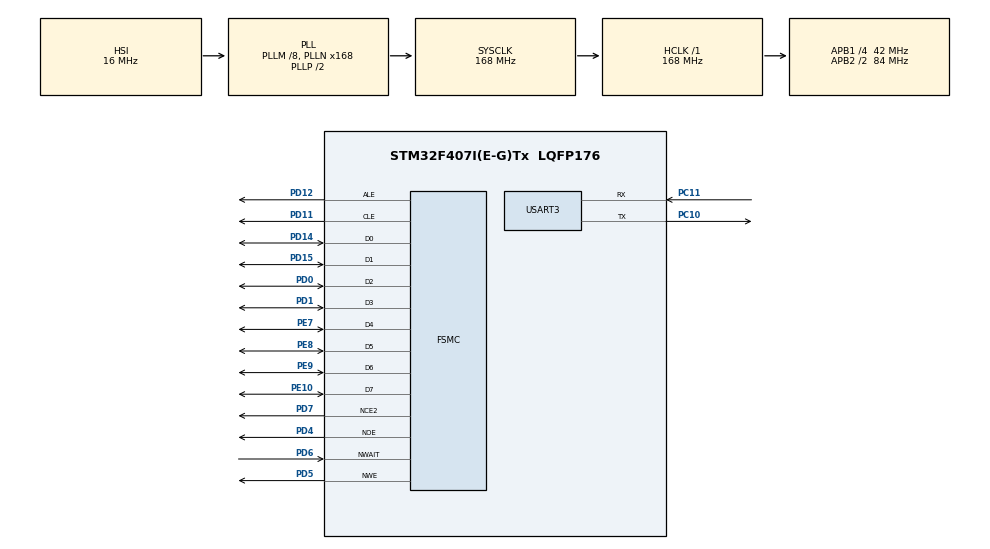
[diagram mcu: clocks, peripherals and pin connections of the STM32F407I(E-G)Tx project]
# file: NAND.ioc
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FSMC.AttributeSpaceHiZSetupTime1=1
FSMC.AttributeSpaceHoldSetupTime1=3
FSMC.AttributeSpaceSetupTime1=0
FSMC.AttributeSpaceWaitSetupTime1=2
FSMC.CommonSpaceHiZSetupTime1=1
FSMC.CommonSpaceHoldSetupTime1=3
FSMC.CommonSpaceSetupTime1=0
FSMC.CommonSpaceWaitSetupTime1=2
FSMC.ECCPageSize1=FSMC_NAND_ECC_PAGE_SIZE_2048BYTE
FSMC.EccComputation1=FSMC_NAND_ECC_ENABLE
FSMC.NandBlockNbr1=0x0400
FSMC.NandBlockSize1=0x0040
FSMC.NandPageSize1=0x0800
FSMC.NandSpareAreaSize1=0x0040
FSMC.NandZoneSize1=0x0400
Mcu.Family=STM32F4
Mcu.Name=STM32F407I(E-G)Tx
Mcu.Package=LQFP176
NVIC.PriorityGroup=NVIC_PRIORITYGROUP_4
PC10.Mode=Asynchronous
PC10.Signal=USART3_TX
PC11.Mode=Asynchronous
PC11.Signal=USART3_RX
PD0.Signal=FSMC_D2_DA2
PD1.Signal=FSMC_D3_DA3
PD11.Signal=FSMC_A16_CLE
PD12.Signal=FSMC_A17_ALE
PD14.Signal=FSMC_D0_DA0
PD15.Signal=FSMC_D1_DA1
PD4.Signal=FSMC_NOE
PD5.Signal=FSMC_NWE
PD6.Signal=FSMC_NWAIT
PD7.Mode=NandChipSelect2_1
PD7.Signal=FSMC_NCE2
PE10.Signal=FSMC_D7_DA7
PE7.Signal=FSMC_D4_DA4
PE8.Signal=FSMC_D5_DA5
PE9.Signal=FSMC_D6_DA6
PH0-OSC_IN.Mode=HSE-External-Oscillator
PH0-OSC_IN.Signal=RCC_OSC_IN
PH1-OSC_OUT.Mode=HSE-External-Oscillator
PH1-OSC_OUT.Signal=RCC_OSC_OUT
ProjectManager.HeapSize=0x200
ProjectManager.StackSize=0x400
ProjectManager.TargetToolchain=MDK-ARM V5
RCC.48MHZClocksFreq_Value=84000000
RCC.AHBFreq_Value=168000000
RCC.APB1CLKDivider=RCC_HCLK_DIV4
RCC.APB1Freq_Value=42000000
RCC.APB1TimFreq_Value=84000000
RCC.APB2CLKDivider=RCC_HCLK_DIV2
RCC.APB2Freq_Value=84000000
RCC.APB2TimFreq_Value=168000000
RCC.CortexFreq_Value=168000000
RCC.HCLKFreq_Value=168000000
RCC.HSE_VALUE=8000000
RCC.HSI_VALUE=16000000
RCC.LSE_VALUE=32768
RCC.PLLM=8
RCC.PLLN=168
RCC.SYSCLKFreq_VALUE=168000000
RCC.SYSCLKSource=RCC_SYSCLKSOURCE_PLLCLK
RCC.VCOOutputFreq_Value=336000000
SH.FSMC_A16_CLE.0=FSMC_CLE,8b-dmux1
SH.FSMC_A17_ALE.0=FSMC_ALE,8b-dmux1
SH.FSMC_D0_DA0.0=FSMC_D0,8b-dmux1
SH.FSMC_D1_DA1.0=FSMC_D1,8b-dmux1
SH.FSMC_D2_DA2.0=FSMC_D2,8b-dmux1
SH.FSMC_D3_DA3.0=FSMC_D3,8b-dmux1
SH.FSMC_D4_DA4.0=FSMC_D4,8b-dmux1
SH.FSMC_D5_DA5.0=FSMC_D5,8b-dmux1
SH.FSMC_D6_DA6.0=FSMC_D6,8b-dmux1
SH.FSMC_D7_DA7.0=FSMC_D7,8b-dmux1
SH.FSMC_NOE.0=FSMC_NOE,8b-dmux1
SH.FSMC_NWAIT.0=FSMC_NWAIT,Wait1
SH.FSMC_NWE.0=FSMC_NWE,8b-dmux1
board=NAND

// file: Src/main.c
/**
  ******************************************************************************
  * File Name          : main.c
  * Description        : Main program body
  ******************************************************************************
  *
  * COPYRIGHT(c) 2017 STMicroelectronics
  *
  * Redistribution and use in source and binary forms, with or without modification,
  * are permitted provided that the following conditions are met:
  *   1. Redistributions of source code must retain the above copyright notice,
  *      this list of conditions and the following disclaimer.
  *   2. Redistributions in binary form must reproduce the above copyright notice,
  *      this list of conditions and the following disclaimer in the documentation
  *      and/or other materials provided with the distribution.
  *   3. Neither the name of STMicroelectronics nor the names of its contributors
  *      may be used to endorse or promote products derived from this software
  *      without specific prior written permission.
  *
  * THIS SOFTWARE IS PROVIDED BY THE COPYRIGHT HOLDERS AND CONTRIBUTORS "AS IS"
  * AND ANY EXPRESS OR IMPLIED WARRANTIES, INCLUDING, BUT NOT LIMITED TO, THE
  * IMPLIED WARRANTIES OF MERCHANTABILITY AND FITNESS FOR A PARTICULAR PURPOSE ARE
  * DISCLAIMED. IN NO EVENT SHALL THE COPYRIGHT HOLDER OR CONTRIBUTORS BE LIABLE
  * FOR ANY DIRECT, INDIRECT, INCIDENTAL, SPECIAL, EXEMPLARY, OR CONSEQUENTIAL
  * DAMAGES (INCLUDING, BUT NOT LIMITED TO, PROCUREMENT OF SUBSTITUTE GOODS OR
  * SERVICES; LOSS OF USE, DATA, OR PROFITS; OR BUSINESS INTERRUPTION) HOWEVER
  * CAUSED AND ON ANY THEORY OF LIABILITY, WHETHER IN CONTRACT, STRICT LIABILITY,
  * OR TORT (INCLUDING NEGLIGENCE OR OTHERWISE) ARISING IN ANY WAY OUT OF THE USE
  * OF THIS SOFTWARE, EVEN IF ADVISED OF THE POSSIBILITY OF SUCH DAMAGE.
  *
  ******************************************************************************
  */
#include "main.h"
#include "stm32f4xx_hal.h"
#include "usart.h"
#include "gpio.h"
#include "fsmc.h"

/* USER CODE BEGIN Includes */
#include <string.h>
#include "stm32_bsp_nand.h"
/* USER CODE END Includes */

/* USER CODE BEGIN PV */
/* Private variables ---------------------------------------------------------*/
NAND_IDTypeDef NAND_ID;
NAND_AddressTypeDef NAND_Address;
uint32_t ECCVal;
uint32_t Timeout = 0x100U;
/* for K9F1G08 */
#define NAND_PAGE_SIZE             ((uint16_t)0x0800) /* 2 * 1024 bytes per page w/o Spare Area */
#define NAND_BLOCK_SIZE            ((uint16_t)0x0040) /* 64 pages per block */
#define NAND_ZONE_SIZE             ((uint16_t)0x0400) /* 1024 Block per zone */
#define NAND_SPARE_AREA_SIZE       ((uint16_t)0x0040) /* last 64 bytes as spare area */
#define NAND_MAX_ZONE              ((uint16_t)0x0001) /* 1 zones of 1024 block */

#define NB_PAGE                 ((uint32_t)1)
#define BUFFER_SIZE             (NAND_PAGE_SIZE * NB_PAGE)
#define WRITE_READ_ADDR         ((uint32_t)0x0000)

static uint8_t TxBuffer[BUFFER_SIZE];
static uint8_t RxBuffer[BUFFER_SIZE];
uint32_t status;
/* USER CODE END PV */

void SystemClock_Config(void);
void Error_Handler(void);

/* USER CODE BEGIN PFP */
/* Private function prototypes -----------------------------------------------*/

/* USER CODE END PFP */

int main(void)
{

  /* MCU Configuration----------------------------------------------------------*/

  /* Reset of all peripherals, Initializes the Flash interface and the Systick. */
  HAL_Init();

  /* Configure the system clock */
  SystemClock_Config();

  /* Initialize all configured peripherals */
  MX_GPIO_Init();
  MX_USART3_UART_Init();
  MX_FSMC_Init();

  /* USER CODE BEGIN 2 */
  printf("***** NandFlash Example ******\r\n");
  printf("The CLE and ALE pins on the development board are A17 and A16 but the default code generated by STM32CubeMX uses A16 for CLE and A17 for ALE."
         "So if the source code is generated by STM32CubeMX again, you should manually edit the stm32f4xx_hal_nand.h file and modify:"
         "#define CMD_AREA                   ((uint32_t)(1U<<16U))"
         "#define ADDR_AREA                  ((uint32_t)(1U<<17U))"
         "to:"
         "#define CMD_AREA                   ((uint32_t)(1U<<17U))"
         "#define ADDR_AREA                  ((uint32_t)(1U<<16U))"
         "\r\n"
         );
  /* Read the NAND memory ID */
  BSP_NAND_Read_ID(&hnand1, &NAND_ID);

  printf("Nand Flash ID: 0x%02X%02X%02X%02X\r\n", NAND_ID.Maker_Id, NAND_ID.Device_Id,
          NAND_ID.Third_Id, NAND_ID.Fourth_Id );
  switch (NAND_ID.Maker_Id << 24 | NAND_ID.Device_Id << 16 | NAND_ID.Third_Id << 8 | NAND_ID.Fourth_Id) {
    case 0xECF18015:
      printf("Type: K9F1G08U0A\r\n");
      break;
    case 0xECF10095:
      printf("Type: K9F1G08U0B/C/D/E\r\n");
      break;
    case 0xADF1801D:
      printf("Type: HY27UF081G2A\r\n");
      break;
    default:
      printf("Type: Unknow\r\n");
      break;
  }

  /* Set the destination address for R/W */
  NAND_Address.Zone = 0;
  NAND_Address.Block = 1;
  NAND_Address.Page = 2;

  /* Erase the NAND first Block (Block 0) */
  /* Writing a page (including the spare area following the page) twice or more without erasing will
     lead to error bytes in the page (including the spare area following the page). */
  /* So you have to erase the block containing 64 pages even if just need to write some bytes */
  BSP_NAND_Erase_Block(&hnand1, &NAND_Address);

  /* Fill the buffer to send */
  for (uint32_t i = 0, tmp; i < BUFFER_SIZE; i += 2) {
    tmp = i / 2;
    TxBuffer[i] = (tmp & 0xFF00) >> 8;
    TxBuffer[i + 1] = (tmp & 0x00FF);
  }

  /* Write data to FMC NAND memory */
  BSP_NAND_Write_Page(&hnand1, &NAND_Address, TxBuffer, NB_PAGE);

  /* Read data from FMC NAND memory */
  BSP_NAND_Read_Page(&hnand1, &NAND_Address, RxBuffer, NB_PAGE);

  printf("Buffers read: ");
  for(uint32_t i = 0; i < BUFFER_SIZE; i++) {
    if(i % 16 == 0) {
      printf("\r\n");
    }
    if(i % 2 == 0) {
      printf("%02X", RxBuffer[i]);
    } else {
      printf("%02X ", RxBuffer[i]);
    }
  }

  if(memcmp(TxBuffer, RxBuffer,sizeof(TxBuffer)) == 0 ) {
    printf("\r\n\r\n NandFlash Read Write Test OK\r\n");
  } else {
    printf("\r\n\r\n NandFlash Read Write False\r\n");
  }

  /* USER CODE END 2 */

  /* Infinite loop */
  while (1)
  {

  }

}

/** System Clock Configuration
*/
void SystemClock_Config(void)
{

  RCC_OscInitTypeDef RCC_OscInitStruct;
  RCC_ClkInitTypeDef RCC_ClkInitStruct;

    /**Configure the main internal regulator output voltage
    */
  __HAL_RCC_PWR_CLK_ENABLE();

  __HAL_PWR_VOLTAGESCALING_CONFIG(PWR_REGULATOR_VOLTAGE_SCALE1);

    /**Initializes the CPU, AHB and APB busses clocks
    */
  RCC_OscInitStruct.OscillatorType = RCC_OSCILLATORTYPE_HSI;
  RCC_OscInitStruct.HSIState = RCC_HSI_ON;
  RCC_OscInitStruct.HSICalibrationValue = 16;
  RCC_OscInitStruct.PLL.PLLState = RCC_PLL_ON;
  RCC_OscInitStruct.PLL.PLLSource = RCC_PLLSOURCE_HSI;
  RCC_OscInitStruct.PLL.PLLM = 8;
  RCC_OscInitStruct.PLL.PLLN = 168;
  RCC_OscInitStruct.PLL.PLLP = RCC_PLLP_DIV2;
  RCC_OscInitStruct.PLL.PLLQ = 4;
  if (HAL_RCC_OscConfig(&RCC_OscInitStruct) != HAL_OK)
  {
    Error_Handler();
  }

    /**Initializes the CPU, AHB and APB busses clocks
    */
  RCC_ClkInitStruct.ClockType = RCC_CLOCKTYPE_HCLK|RCC_CLOCKTYPE_SYSCLK
                              |RCC_CLOCKTYPE_PCLK1|RCC_CLOCKTYPE_PCLK2;
  RCC_ClkInitStruct.SYSCLKSource = RCC_SYSCLKSOURCE_PLLCLK;
  RCC_ClkInitStruct.AHBCLKDivider = RCC_SYSCLK_DIV1;
  RCC_ClkInitStruct.APB1CLKDivider = RCC_HCLK_DIV4;
  RCC_ClkInitStruct.APB2CLKDivider = RCC_HCLK_DIV2;

  if (HAL_RCC_ClockConfig(&RCC_ClkInitStruct, FLASH_LATENCY_5) != HAL_OK)
  {
    Error_Handler();
  }

    /**Configure the Systick interrupt time
    */
  HAL_SYSTICK_Config(HAL_RCC_GetHCLKFreq()/1000);

    /**Configure the Systick
    */
  HAL_SYSTICK_CLKSourceConfig(SYSTICK_CLKSOURCE_HCLK);

  /* SysTick_IRQn interrupt configuration */
  HAL_NVIC_SetPriority(SysTick_IRQn, 0, 0);
}

void Error_Handler(void)
{
  while(1)
  {
  }
}

/************************ (C) COPYRIGHT STMicroelectronics *****END OF FILE****/
